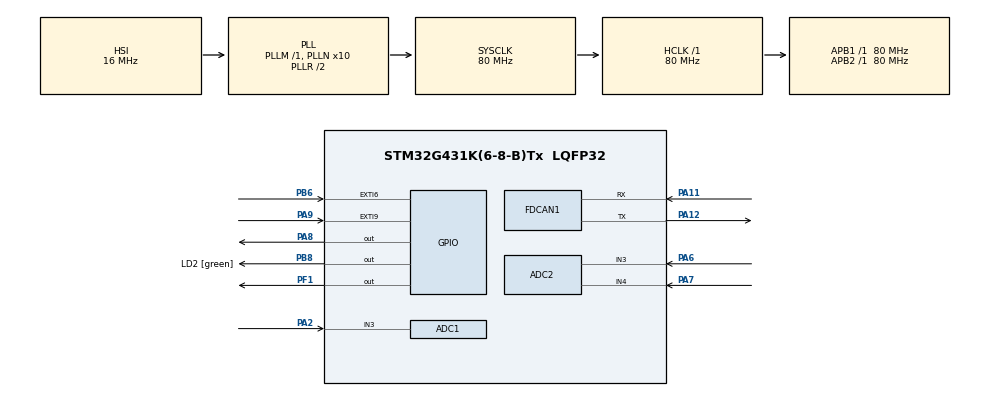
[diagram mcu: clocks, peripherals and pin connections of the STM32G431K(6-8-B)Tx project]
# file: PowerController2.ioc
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ADC1.Channel-0\#ChannelRegularConversion=ADC_CHANNEL_3
ADC1.Channel-1\#ChannelRegularConversion=ADC_CHANNEL_TEMPSENSOR_ADC1
ADC1.ContinuousConvMode=ENABLE
ADC1.DMAContinuousRequests=ENABLE
ADC1.LowPowerAutoWait=ENABLE
ADC1.NbrOfConversion=2
ADC1.NbrOfConversionFlag=1
ADC1.OffsetNumber-0\#ChannelRegularConversion=ADC_OFFSET_NONE
ADC1.OffsetNumber-1\#ChannelRegularConversion=ADC_OFFSET_NONE
ADC1.Rank-0\#ChannelRegularConversion=1
ADC1.Rank-1\#ChannelRegularConversion=2
ADC1.SamplingTime-0\#ChannelRegularConversion=ADC_SAMPLETIME_92CYCLES_5
ADC1.SamplingTime-1\#ChannelRegularConversion=ADC_SAMPLETIME_92CYCLES_5
ADC1.master=1
ADC2.Channel-0\#ChannelRegularConversion=ADC_CHANNEL_3
ADC2.Channel-1\#ChannelRegularConversion=ADC_CHANNEL_4
ADC2.ContinuousConvMode=ENABLE
ADC2.DMAContinuousRequests=ENABLE
ADC2.LowPowerAutoWait=ENABLE
ADC2.NbrOfConversion=2
ADC2.NbrOfConversionFlag=1
ADC2.OffsetNumber-0\#ChannelRegularConversion=ADC_OFFSET_NONE
ADC2.OffsetNumber-1\#ChannelRegularConversion=ADC_OFFSET_NONE
ADC2.Rank-0\#ChannelRegularConversion=1
ADC2.Rank-1\#ChannelRegularConversion=2
ADC2.SamplingTime-0\#ChannelRegularConversion=ADC_SAMPLETIME_92CYCLES_5
ADC2.SamplingTime-1\#ChannelRegularConversion=ADC_SAMPLETIME_92CYCLES_5
Dma.ADC1.0.Direction=DMA_PERIPH_TO_MEMORY
Dma.ADC1.0.EventEnable=DISABLE
Dma.ADC1.0.Instance=DMA1_Channel1
Dma.ADC1.0.MemDataAlignment=DMA_MDATAALIGN_HALFWORD
Dma.ADC1.0.MemInc=DMA_MINC_ENABLE
Dma.ADC1.0.Mode=DMA_CIRCULAR
Dma.ADC1.0.PeriphDataAlignment=DMA_PDATAALIGN_HALFWORD
Dma.ADC1.0.PeriphInc=DMA_PINC_DISABLE
Dma.ADC1.0.Polarity=HAL_DMAMUX_REQ_GEN_RISING
Dma.ADC1.0.Priority=DMA_PRIORITY_LOW
Dma.ADC1.0.RequestNumber=1
Dma.ADC1.0.SignalID=NONE
Dma.ADC1.0.SyncEnable=DISABLE
Dma.ADC1.0.SyncPolarity=HAL_DMAMUX_SYNC_NO_EVENT
Dma.ADC1.0.SyncRequestNumber=1
Dma.ADC1.0.SyncSignalID=NONE
Dma.ADC2.1.Direction=DMA_PERIPH_TO_MEMORY
Dma.ADC2.1.EventEnable=DISABLE
Dma.ADC2.1.Instance=DMA1_Channel2
Dma.ADC2.1.MemDataAlignment=DMA_MDATAALIGN_HALFWORD
Dma.ADC2.1.MemInc=DMA_MINC_ENABLE
Dma.ADC2.1.Mode=DMA_CIRCULAR
Dma.ADC2.1.PeriphDataAlignment=DMA_PDATAALIGN_HALFWORD
Dma.ADC2.1.PeriphInc=DMA_PINC_DISABLE
Dma.ADC2.1.Polarity=HAL_DMAMUX_REQ_GEN_RISING
Dma.ADC2.1.Priority=DMA_PRIORITY_LOW
Dma.ADC2.1.RequestNumber=1
Dma.ADC2.1.SignalID=NONE
Dma.ADC2.1.SyncEnable=DISABLE
Dma.ADC2.1.SyncPolarity=HAL_DMAMUX_SYNC_NO_EVENT
Dma.ADC2.1.SyncRequestNumber=1
Dma.ADC2.1.SyncSignalID=NONE
Dma.Request0=ADC1
Dma.Request1=ADC2
FDCAN1.CalculateBaudRateNominal=1000000
FDCAN1.CalculateTimeBitNominal=1000
FDCAN1.CalculateTimeQuantumNominal=62.5
FDCAN1.DataPrescaler=1
FDCAN1.DataSyncJumpWidth=4
FDCAN1.DataTimeSeg1=5
FDCAN1.DataTimeSeg2=4
FDCAN1.NominalPrescaler=5
FDCAN1.NominalSyncJumpWidth=16
FDCAN1.NominalTimeSeg1=13
FDCAN1.StdFiltersNbr=1
Mcu.Family=STM32G4
Mcu.Name=STM32G431K(6-8-B)Tx
Mcu.Package=LQFP32
NVIC.DMA1_Channel1_IRQn=true\:0\:0\:false\:false\:true\:false\:true\:true
NVIC.DMA1_Channel2_IRQn=true\:0\:0\:false\:false\:true\:false\:true\:true
NVIC.EXTI9_5_IRQn=true\:0\:0\:false\:false\:true\:true\:true\:true
NVIC.FDCAN1_IT0_IRQn=true\:1\:0\:true\:false\:true\:true\:true\:true
NVIC.PriorityGroup=NVIC_PRIORITYGROUP_4
PA11.Mode=FDCAN_Activate
PA11.Signal=FDCAN1_RX
PA12.Mode=FDCAN_Activate
PA12.Signal=FDCAN1_TX
PA13.GPIO_Label=T_SWDIO
PA13.Mode=Serial_Wire
PA13.Signal=SYS_JTMS-SWDIO
PA14.GPIO_Label=T_SWCLK
PA14.Mode=Serial_Wire
PA14.Signal=SYS_JTCK-SWCLK
PA2.Mode=IN3-Single-Ended
PA2.Signal=ADC1_IN3
PA6.Mode=IN3-Single-Ended
PA6.Signal=ADC2_IN3
PA7.Mode=IN4-Single-Ended
PA7.Signal=ADC2_IN4
PA8.Signal=GPIO_Output
PA9.GPIO_ModeDefaultEXTI=GPIO_MODE_IT_RISING_FALLING
PA9.GPIO_PuPd=GPIO_PULLDOWN
PA9.Signal=GPXTI9
PB3.GPIO_Label=T_SWO
PB3.Signal=SYS_JTDO-SWO
PB6.GPIO_ModeDefaultEXTI=GPIO_MODE_IT_RISING_FALLING
PB6.GPIO_PuPd=GPIO_PULLDOWN
PB6.Signal=GPXTI6
PB8-BOOT0.GPIO_Label=LD2 [green]
PB8-BOOT0.Signal=GPIO_Output
PF1-OSC_OUT.Signal=GPIO_Output
ProjectManager.HeapSize=0x200
ProjectManager.StackSize=0x400
ProjectManager.TargetToolchain=STM32CubeIDE
RCC.ADC12Freq_Value=80000000
RCC.AHBFreq_Value=80000000
RCC.APB1Freq_Value=80000000
RCC.APB1TimFreq_Value=80000000
RCC.APB2Freq_Value=80000000
RCC.APB2TimFreq_Value=80000000
RCC.CortexFreq_Value=80000000
RCC.EXTERNAL_CLOCK_VALUE=12288000
RCC.HCLKFreq_Value=80000000
RCC.HSE_VALUE=8000000
RCC.HSI48_VALUE=48000000
RCC.HSI_VALUE=16000000
RCC.LSE_VALUE=32768
RCC.PLLN=10
RCC.SYSCLKFreq_VALUE=80000000
RCC.SYSCLKSource=RCC_SYSCLKSOURCE_PLLCLK
RCC.USBFreq_Value=80000000
RCC.VCOOutputFreq_Value=160000000
VP_ADC1_TempSens_Input.Mode=IN-TempSens
board=NUCLEO-G431KB

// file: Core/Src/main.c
/* USER CODE BEGIN Header */
/**
  ******************************************************************************
  * @file           : main.c
  * @brief          : Main program body
  ******************************************************************************
  * @attention
  *
  * Copyright (c) 2023 STMicroelectronics.
  * All rights reserved.
  *
  * This software is licensed under terms that can be found in the LICENSE file
  * in the root directory of this software component.
  * If no LICENSE file comes with this software, it is provided AS-IS.
  *
  ******************************************************************************
  */
/* USER CODE END Header */
#include "main.h"

/* USER CODE BEGIN Includes */
#include <stdio.h>
/* USER CODE END Includes */

/* USER CODE BEGIN PD */
#define ISLAMP_OFFSET 2.5
#define ISLAMP_GAIN 9.77
#define CANID_POWERFB 0x700
#define CANID_POWERSTT 0x000
/* USER CODE END PD */

ADC_HandleTypeDef hadc1;
ADC_HandleTypeDef hadc2;
DMA_HandleTypeDef hdma_adc1;
DMA_HandleTypeDef hdma_adc2;

FDCAN_HandleTypeDef hfdcan1;

/* USER CODE BEGIN PV */
FDCAN_TxHeaderTypeDef TxHeader;
FDCAN_RxHeaderTypeDef RxHeader;
uint8_t TxData1[8];
uint8_t TxData0[1];
uint16_t ADC1Buff[2];
uint16_t ADC2Buff[2];
uint8_t PFlag;
uint8_t CFlag;

/* USER CODE END PV */

void SystemClock_Config(void);
static void MX_GPIO_Init(void);
static void MX_DMA_Init(void);
static void MX_FDCAN1_Init(void);
static void MX_ADC1_Init(void);
static void MX_ADC2_Init(void);

/* USER CODE BEGIN 0 */
/*int _write(int file, char *ptr, int len)
{
	HAL_UART_Transmit(&huart2, (uint8_t *)ptr, len, 10);
	return len;
}
*/

uint16_t Filter(uint16_t Val, uint16_t _Val, uint16_t gain){
	return (Val*gain + _Val*(100-gain)) / 100;
}

void HAL_GPIO_EXTI_Callback(uint16_t GPIO_Pin){
	if(GPIO_Pin == GPIO_PIN_6){
		//HAL_Delay(1);
		uint8_t TxData[1] = {};

		//Drive Power OverCurrent Detection
		if(HAL_GPIO_ReadPin(GPIOB, GPIO_PIN_6) == GPIO_PIN_SET){
			TxHeader.Identifier = CANID_POWERSTT;
			TxHeader.DataLength = FDCAN_DLC_BYTES_1;
			PFlag = 1;
			TxData[0] = PFlag;
			//printf("POWER OFF\r\n");
			if(HAL_FDCAN_AddMessageToTxFifoQ(&hfdcan1, &TxHeader, TxData) != HAL_OK){
				Error_Handler();
			}
		}

		if(HAL_GPIO_ReadPin(GPIOB, GPIO_PIN_6) == GPIO_PIN_RESET){
			TxHeader.Identifier = CANID_POWERSTT;
			TxHeader.DataLength = FDCAN_DLC_BYTES_1;
			PFlag = 0;
			TxData[0] = PFlag;
			//printf("POWER ON\r\n");
			if(HAL_FDCAN_AddMessageToTxFifoQ(&hfdcan1, &TxHeader, TxData) != HAL_OK){
				Error_Handler();

			}
		}

	}

	// When Controller Power Down
	if(GPIO_Pin == GPIO_PIN_9){
		//HAL_Delay(1);
		uint8_t TxData[1] = {};
		if(HAL_GPIO_ReadPin(GPIOA, GPIO_PIN_9) == GPIO_PIN_RESET){
			HAL_GPIO_WritePin(GPIOA, GPIO_PIN_8, GPIO_PIN_RESET);
			TxHeader.Identifier = CANID_POWERSTT;
			TxHeader.DataLength = FDCAN_DLC_BYTES_1;
			PFlag = 0;
			TxData[0] = PFlag;

			if(HAL_FDCAN_AddMessageToTxFifoQ(&hfdcan1, &TxHeader, TxData) != HAL_OK){
				Error_Handler();
			}
		}
	}
}

/* USER CODE END 0 */

int main(void)
{
  /* USER CODE BEGIN 1 */
	uint16_t PBattVol, CBattVol, AirPress, Tmp; //10^-2 V, 10^-2 V, 10^3 Pa, 10 ^-1 C
	uint16_t _PBattVol = 2220;
	uint16_t _CBattVol = 740;
	uint16_t _AirPress = 600;
	uint16_t _Tmp      = 180;
	uint16_t gain[4] = {5, 90, 90, 90};
	//uint8_t TxData[8];

  /* USER CODE END 1 */

  /* MCU Configuration--------------------------------------------------------*/

  /* Reset of all peripherals, Initializes the Flash interface and the Systick. */
  HAL_Init();

  /* Configure the system clock */
  SystemClock_Config();

  /* Initialize all configured peripherals */
  MX_GPIO_Init();
  MX_DMA_Init();
  MX_FDCAN1_Init();
  MX_ADC1_Init();
  MX_ADC2_Init();
  /* USER CODE BEGIN 2 */
  HAL_GPIO_WritePin(GPIOF, GPIO_PIN_1, GPIO_PIN_SET);
  while(HAL_GPIO_ReadPin(GPIOA, GPIO_PIN_9) == GPIO_PIN_RESET);
  HAL_GPIO_WritePin(GPIOA, GPIO_PIN_8, GPIO_PIN_SET);
  while(HAL_GPIO_ReadPin(GPIOB, GPIO_PIN_6) == GPIO_PIN_RESET);
  TxHeader.Identifier = CANID_POWERSTT;
  TxData0[0] = 1;
  TxHeader.DataLength = FDCAN_DLC_BYTES_1;

	if(HAL_FDCAN_AddMessageToTxFifoQ(&hfdcan1, &TxHeader, TxData0) != HAL_OK){
		Error_Handler();
	}

  /* USER CODE END 2 */

  /* Infinite loop */
  /* USER CODE BEGIN WHILE */
  while (1)
  {
	for(uint8_t i=0; i<10; i++){

		HAL_Delay(10);
		PBattVol = (((float) ADC2Buff[0] * 3.3 / 4095 )*10/6.7  - ISLAMP_OFFSET)*14200/ISLAMP_GAIN - 90;
		CBattVol = ((float) ADC1Buff[0] * 3.3 / 4095 )*500+90;
		AirPress = ((((float) ADC2Buff[1] * 3.3 / 4095)*10/6.7 - 0.25) * 150 / 4.5)*6.895;
		Tmp      = (float) ADC1Buff[1];

		PBattVol = Filter(PBattVol, _PBattVol, gain[0]);
		CBattVol = Filter(CBattVol, _CBattVol, gain[1]);
		AirPress = Filter(AirPress, _AirPress, gain[2]);
		Tmp      = Filter(Tmp, _Tmp, gain[3]);

		_PBattVol = PBattVol;
		_CBattVol = CBattVol;
		_AirPress = AirPress;
		_Tmp      = Tmp;

	}
	TxData1[0] = PBattVol>>8;
	TxData1[1] = PBattVol & 0x00FF;
	TxData1[2] = CBattVol>>8;
	TxData1[3] = CBattVol & 0x00FF;
	TxData1[4] = AirPress>>8;
	TxData1[5] = AirPress & 0x00FF;
	TxData1[6] = Tmp>>8;
	TxData1[7] = Tmp & 0x00FF;

	/*
	TxData1[6] = ADC1Buff[0]>>8;
	TxData1[7] = ADC1Buff[0] & 0x00FF;
	TxData1[2] = ADC1Buff[1]>>8;
	TxData1[3] = ADC1Buff[1] & 0x00FF;
	TxData1[4] = ADC2Buff[0]>>8;
	TxData1[5] = ADC2Buff[0] & 0x00FF;
	TxData1[0] = ADC2Buff[1]>>8;
	TxData1[1] = ADC2Buff[1] & 0x00FF;
	*/

	TxHeader.Identifier = CANID_POWERFB;
	TxHeader.DataLength = FDCAN_DLC_BYTES_8;

	if(HAL_FDCAN_AddMessageToTxFifoQ(&hfdcan1, &TxHeader, TxData1) != HAL_OK){
		Error_Handler();
	}
    /* USER CODE END WHILE */

  }
}

void SystemClock_Config(void)
{
  RCC_OscInitTypeDef RCC_OscInitStruct = {0};
  RCC_ClkInitTypeDef RCC_ClkInitStruct = {0};

  /** Configure the main internal regulator output voltage
  */
  HAL_PWREx_ControlVoltageScaling(PWR_REGULATOR_VOLTAGE_SCALE1);

  /** Initializes the RCC Oscillators according to the specified parameters
  * in the RCC_OscInitTypeDef structure.
  */
  RCC_OscInitStruct.OscillatorType = RCC_OSCILLATORTYPE_HSI;
  RCC_OscInitStruct.HSIState = RCC_HSI_ON;
  RCC_OscInitStruct.HSICalibrationValue = RCC_HSICALIBRATION_DEFAULT;
  RCC_OscInitStruct.PLL.PLLState = RCC_PLL_ON;
  RCC_OscInitStruct.PLL.PLLSource = RCC_PLLSOURCE_HSI;
  RCC_OscInitStruct.PLL.PLLM = RCC_PLLM_DIV1;
  RCC_OscInitStruct.PLL.PLLN = 10;
  RCC_OscInitStruct.PLL.PLLP = RCC_PLLP_DIV2;
  RCC_OscInitStruct.PLL.PLLQ = RCC_PLLQ_DIV2;
  RCC_OscInitStruct.PLL.PLLR = RCC_PLLR_DIV2;
  if (HAL_RCC_OscConfig(&RCC_OscInitStruct) != HAL_OK)
  {
    Error_Handler();
  }

  /** Initializes the CPU, AHB and APB buses clocks
  */
  RCC_ClkInitStruct.ClockType = RCC_CLOCKTYPE_HCLK|RCC_CLOCKTYPE_SYSCLK
                              |RCC_CLOCKTYPE_PCLK1|RCC_CLOCKTYPE_PCLK2;
  RCC_ClkInitStruct.SYSCLKSource = RCC_SYSCLKSOURCE_PLLCLK;
  RCC_ClkInitStruct.AHBCLKDivider = RCC_SYSCLK_DIV1;
  RCC_ClkInitStruct.APB1CLKDivider = RCC_HCLK_DIV1;
  RCC_ClkInitStruct.APB2CLKDivider = RCC_HCLK_DIV1;

  if (HAL_RCC_ClockConfig(&RCC_ClkInitStruct, FLASH_LATENCY_2) != HAL_OK)
  {
    Error_Handler();
  }
}

static void MX_ADC1_Init(void)
{

  ADC_MultiModeTypeDef multimode = {0};
  ADC_ChannelConfTypeDef sConfig = {0};

  /** Common config
  */
  hadc1.Instance = ADC1;
  hadc1.Init.ClockPrescaler = ADC_CLOCK_SYNC_PCLK_DIV2;
  hadc1.Init.Resolution = ADC_RESOLUTION_12B;
  hadc1.Init.DataAlign = ADC_DATAALIGN_RIGHT;
  hadc1.Init.GainCompensation = 0;
  hadc1.Init.ScanConvMode = ADC_SCAN_ENABLE;
  hadc1.Init.EOCSelection = ADC_EOC_SINGLE_CONV;
  hadc1.Init.LowPowerAutoWait = ENABLE;
  hadc1.Init.ContinuousConvMode = ENABLE;
  hadc1.Init.NbrOfConversion = 2;
  hadc1.Init.DiscontinuousConvMode = DISABLE;
  hadc1.Init.ExternalTrigConv = ADC_SOFTWARE_START;
  hadc1.Init.ExternalTrigConvEdge = ADC_EXTERNALTRIGCONVEDGE_NONE;
  hadc1.Init.DMAContinuousRequests = ENABLE;
  hadc1.Init.Overrun = ADC_OVR_DATA_PRESERVED;
  hadc1.Init.OversamplingMode = DISABLE;
  if (HAL_ADC_Init(&hadc1) != HAL_OK)
  {
    Error_Handler();
  }

  /** Configure the ADC multi-mode
  */
  multimode.Mode = ADC_MODE_INDEPENDENT;
  if (HAL_ADCEx_MultiModeConfigChannel(&hadc1, &multimode) != HAL_OK)
  {
    Error_Handler();
  }

  /** Configure Regular Channel
  */
  sConfig.Channel = ADC_CHANNEL_3;
  sConfig.Rank = ADC_REGULAR_RANK_1;
  sConfig.SamplingTime = ADC_SAMPLETIME_92CYCLES_5;
  sConfig.SingleDiff = ADC_SINGLE_ENDED;
  sConfig.OffsetNumber = ADC_OFFSET_NONE;
  sConfig.Offset = 0;
  if (HAL_ADC_ConfigChannel(&hadc1, &sConfig) != HAL_OK)
  {
    Error_Handler();
  }

  /** Configure Regular Channel
  */
  sConfig.Channel = ADC_CHANNEL_TEMPSENSOR_ADC1;
  sConfig.Rank = ADC_REGULAR_RANK_2;
  if (HAL_ADC_ConfigChannel(&hadc1, &sConfig) != HAL_OK)
  {
    Error_Handler();
  }
  /* USER CODE BEGIN ADC1_Init 2 */
	HAL_ADCEx_Calibration_Start(&hadc1, ADC_SINGLE_ENDED);
	HAL_ADC_Start_DMA(&hadc1, (uint32_t *)ADC1Buff, sizeof(ADC1Buff) / sizeof(ADC1Buff[0]));
	hdma_adc1.Instance->CCR &= ~(DMA_IT_TC | DMA_IT_HT);

  /* USER CODE END ADC1_Init 2 */

}

static void MX_ADC2_Init(void)
{

  ADC_ChannelConfTypeDef sConfig = {0};

  /** Common config
  */
  hadc2.Instance = ADC2;
  hadc2.Init.ClockPrescaler = ADC_CLOCK_SYNC_PCLK_DIV2;
  hadc2.Init.Resolution = ADC_RESOLUTION_12B;
  hadc2.Init.DataAlign = ADC_DATAALIGN_RIGHT;
  hadc2.Init.GainCompensation = 0;
  hadc2.Init.ScanConvMode = ADC_SCAN_ENABLE;
  hadc2.Init.EOCSelection = ADC_EOC_SINGLE_CONV;
  hadc2.Init.LowPowerAutoWait = ENABLE;
  hadc2.Init.ContinuousConvMode = ENABLE;
  hadc2.Init.NbrOfConversion = 2;
  hadc2.Init.DiscontinuousConvMode = DISABLE;
  hadc2.Init.ExternalTrigConv = ADC_SOFTWARE_START;
  hadc2.Init.ExternalTrigConvEdge = ADC_EXTERNALTRIGCONVEDGE_NONE;
  hadc2.Init.DMAContinuousRequests = ENABLE;
  hadc2.Init.Overrun = ADC_OVR_DATA_PRESERVED;
  hadc2.Init.OversamplingMode = DISABLE;
  if (HAL_ADC_Init(&hadc2) != HAL_OK)
  {
    Error_Handler();
  }

  /** Configure Regular Channel
  */
  sConfig.Channel = ADC_CHANNEL_3;
  sConfig.Rank = ADC_REGULAR_RANK_1;
  sConfig.SamplingTime = ADC_SAMPLETIME_92CYCLES_5;
  sConfig.SingleDiff = ADC_SINGLE_ENDED;
  sConfig.OffsetNumber = ADC_OFFSET_NONE;
  sConfig.Offset = 0;
  if (HAL_ADC_ConfigChannel(&hadc2, &sConfig) != HAL_OK)
  {
    Error_Handler();
  }

  /** Configure Regular Channel
  */
  sConfig.Channel = ADC_CHANNEL_4;
  sConfig.Rank = ADC_REGULAR_RANK_2;
  if (HAL_ADC_ConfigChannel(&hadc2, &sConfig) != HAL_OK)
  {
    Error_Handler();
  }
  /* USER CODE BEGIN ADC2_Init 2 */
	HAL_ADCEx_Calibration_Start(&hadc2, ADC_SINGLE_ENDED);
	HAL_ADC_Start_DMA(&hadc2, (uint32_t *)ADC2Buff, sizeof(ADC2Buff) / sizeof(ADC2Buff[0]));
	hdma_adc2.Instance->CCR &= ~(DMA_IT_TC | DMA_IT_HT);

  /* USER CODE END ADC2_Init 2 */

}

static void MX_FDCAN1_Init(void)
{

  hfdcan1.Instance = FDCAN1;
  hfdcan1.Init.ClockDivider = FDCAN_CLOCK_DIV1;
  hfdcan1.Init.FrameFormat = FDCAN_FRAME_CLASSIC;
  hfdcan1.Init.Mode = FDCAN_MODE_NORMAL;
  hfdcan1.Init.AutoRetransmission = DISABLE;
  hfdcan1.Init.TransmitPause = DISABLE;
  hfdcan1.Init.ProtocolException = DISABLE;
  hfdcan1.Init.NominalPrescaler = 5;
  hfdcan1.Init.NominalSyncJumpWidth = 16;
  hfdcan1.Init.NominalTimeSeg1 = 13;
  hfdcan1.Init.NominalTimeSeg2 = 2;
  hfdcan1.Init.DataPrescaler = 1;
  hfdcan1.Init.DataSyncJumpWidth = 4;
  hfdcan1.Init.DataTimeSeg1 = 5;
  hfdcan1.Init.DataTimeSeg2 = 4;
  hfdcan1.Init.StdFiltersNbr = 1;
  hfdcan1.Init.ExtFiltersNbr = 0;
  hfdcan1.Init.TxFifoQueueMode = FDCAN_TX_FIFO_OPERATION;
  if (HAL_FDCAN_Init(&hfdcan1) != HAL_OK)
  {
    Error_Handler();
  }
  /* USER CODE BEGIN FDCAN1_Init 2 */
	TxHeader.IdType = FDCAN_STANDARD_ID;
	TxHeader.TxFrameType = FDCAN_DATA_FRAME;
	TxHeader.DataLength = FDCAN_DLC_BYTES_3;
	TxHeader.ErrorStateIndicator = FDCAN_ESI_ACTIVE;
	TxHeader.BitRateSwitch = FDCAN_BRS_OFF;
	TxHeader.FDFormat = FDCAN_CLASSIC_CAN;
	TxHeader.TxEventFifoControl = FDCAN_NO_TX_EVENTS;
	TxHeader.MessageMarker = 0;

	FDCAN_FilterTypeDef sFilterConfig;
	sFilterConfig.IdType = FDCAN_STANDARD_ID;
	sFilterConfig.FilterIndex = 0;
	sFilterConfig.FilterType = FDCAN_FILTER_MASK;
	sFilterConfig.FilterConfig = FDCAN_FILTER_TO_RXFIFO0;
	sFilterConfig.FilterID1 = 0x000;
	sFilterConfig.FilterID2 = 0x7F0;

	if (HAL_FDCAN_ConfigFilter(&hfdcan1, &sFilterConfig) != HAL_OK) {
		Error_Handler();
	}
	if (HAL_FDCAN_ConfigGlobalFilter(&hfdcan1, FDCAN_REJECT, FDCAN_REJECT, FDCAN_FILTER_REMOTE, FDCAN_FILTER_REMOTE) != HAL_OK) {
		Error_Handler();
	}

	if (HAL_FDCAN_Start(&hfdcan1) != HAL_OK) {
		Error_Handler();
	}
	if (HAL_FDCAN_ActivateNotification(&hfdcan1, FDCAN_IT_RX_FIFO0_NEW_MESSAGE, 0) != HAL_OK) {
	  Error_Handler();
	}
  /* USER CODE END FDCAN1_Init 2 */

}

static void MX_DMA_Init(void)
{

  /* DMA controller clock enable */
  __HAL_RCC_DMAMUX1_CLK_ENABLE();
  __HAL_RCC_DMA1_CLK_ENABLE();

  /* DMA interrupt init */
  /* DMA1_Channel1_IRQn interrupt configuration */
  HAL_NVIC_SetPriority(DMA1_Channel1_IRQn, 0, 0);
  HAL_NVIC_EnableIRQ(DMA1_Channel1_IRQn);
  /* DMA1_Channel2_IRQn interrupt configuration */
  HAL_NVIC_SetPriority(DMA1_Channel2_IRQn, 0, 0);
  HAL_NVIC_EnableIRQ(DMA1_Channel2_IRQn);

}

static void MX_GPIO_Init(void)
{
  GPIO_InitTypeDef GPIO_InitStruct = {0};

  /* GPIO Ports Clock Enable */
  __HAL_RCC_GPIOF_CLK_ENABLE();
  __HAL_RCC_GPIOA_CLK_ENABLE();
  __HAL_RCC_GPIOB_CLK_ENABLE();

  /*Configure GPIO pin Output Level */
  HAL_GPIO_WritePin(GPIOF, GPIO_PIN_1, GPIO_PIN_RESET);

  /*Configure GPIO pin Output Level */
  HAL_GPIO_WritePin(GPIOA, GPIO_PIN_8, GPIO_PIN_RESET);

  /*Configure GPIO pin Output Level */
  HAL_GPIO_WritePin(LD2_GPIO_Port, LD2_Pin, GPIO_PIN_RESET);

  /*Configure GPIO pin : PF1 */
  GPIO_InitStruct.Pin = GPIO_PIN_1;
  GPIO_InitStruct.Mode = GPIO_MODE_OUTPUT_PP;
  GPIO_InitStruct.Pull = GPIO_NOPULL;
  GPIO_InitStruct.Speed = GPIO_SPEED_FREQ_LOW;
  HAL_GPIO_Init(GPIOF, &GPIO_InitStruct);

  /*Configure GPIO pin : PA8 */
  GPIO_InitStruct.Pin = GPIO_PIN_8;
  GPIO_InitStruct.Mode = GPIO_MODE_OUTPUT_PP;
  GPIO_InitStruct.Pull = GPIO_NOPULL;
  GPIO_InitStruct.Speed = GPIO_SPEED_FREQ_LOW;
  HAL_GPIO_Init(GPIOA, &GPIO_InitStruct);

  /*Configure GPIO pin : PA9 */
  GPIO_InitStruct.Pin = GPIO_PIN_9;
  GPIO_InitStruct.Mode = GPIO_MODE_IT_RISING_FALLING;
  GPIO_InitStruct.Pull = GPIO_PULLDOWN;
  HAL_GPIO_Init(GPIOA, &GPIO_InitStruct);

  /*Configure GPIO pin : PB6 */
  GPIO_InitStruct.Pin = GPIO_PIN_6;
  GPIO_InitStruct.Mode = GPIO_MODE_IT_RISING_FALLING;
  GPIO_InitStruct.Pull = GPIO_PULLDOWN;
  HAL_GPIO_Init(GPIOB, &GPIO_InitStruct);

  /*Configure GPIO pin : LD2_Pin */
  GPIO_InitStruct.Pin = LD2_Pin;
  GPIO_InitStruct.Mode = GPIO_MODE_OUTPUT_PP;
  GPIO_InitStruct.Pull = GPIO_NOPULL;
  GPIO_InitStruct.Speed = GPIO_SPEED_FREQ_LOW;
  HAL_GPIO_Init(LD2_GPIO_Port, &GPIO_InitStruct);

  /* EXTI interrupt init*/
  HAL_NVIC_SetPriority(EXTI9_5_IRQn, 0, 0);
  HAL_NVIC_EnableIRQ(EXTI9_5_IRQn);

}

void Error_Handler(void)
{
  __disable_irq();
  while (1)
  {
  }
}
